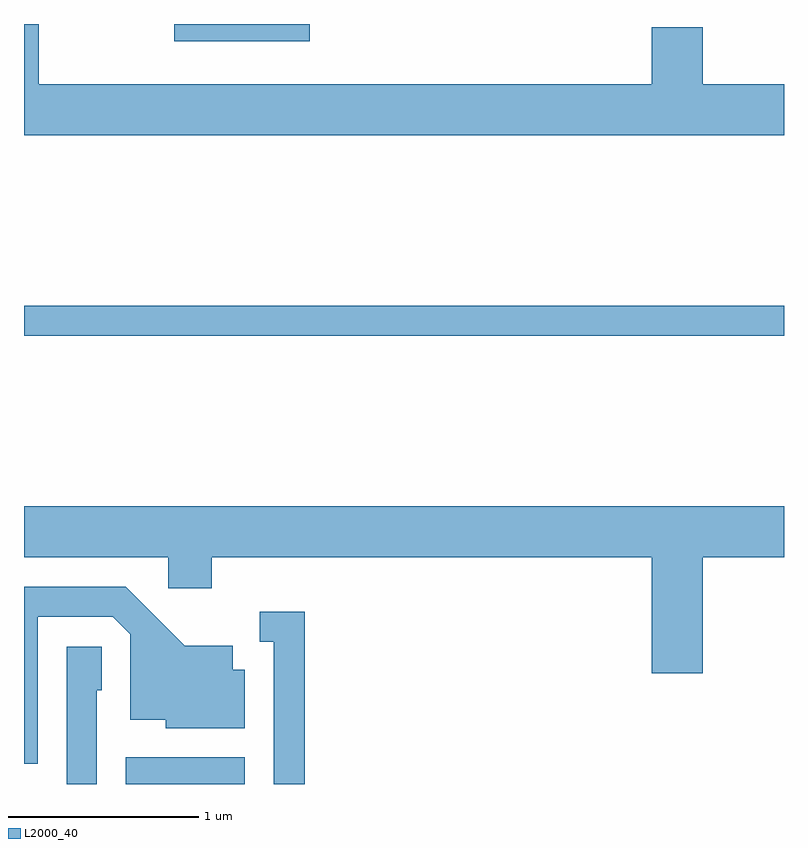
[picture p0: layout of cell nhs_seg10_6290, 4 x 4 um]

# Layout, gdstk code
import gdstk
lib = gdstk.Library(unit=1e-6, precision=1e-09)
def R(c, l, rs):  # rectangles x0, y0, x1, y1
    for r in rs: c.add(gdstk.rectangle(r[:2], r[2:], *l))
def P(c, l, *ps):  # polygons
    for p in ps: c.add(gdstk.Polygon(p, *l))
L2000_40 = (2000, 40)

nhs_seg10_6290 = lib.new_cell('nhs_seg10_6290')
R(nhs_seg10_6290, L2000_40, [(372.146,2090.522,372.774,2090.664), (371.611,2092.881,375.611,2093.039), (372.401,2094.431,373.114,2094.522)])
P(nhs_seg10_6290, L2000_40, [(375.611,2094.204),(375.184,2094.204),(375.184,2094.504),(374.916,2094.504),(374.916,2094.204),(371.689,2094.204),(371.689,2094.522),(371.611,2094.522),(371.611,2093.936),(375.611,2093.936)],
  [(375.184,2091.716),(375.611,2091.716),(375.611,2091.984),(371.611,2091.984),(371.611,2091.716),(372.371,2091.716),(372.371,2091.551),(372.599,2091.551),(372.599,2091.716),(374.916,2091.716),(374.916,2091.106),(375.184,2091.106)],
  [(371.684,2091.401),(372.079,2091.401),(372.171,2091.309),(372.171,2090.861),(372.356,2090.861),(372.356,2090.816),(372.774,2090.816),(372.774,2091.124),(372.709,2091.124),(372.709,2091.249),(372.457,2091.249),(372.147,2091.559),(371.611,2091.559),(371.611,2090.628),(371.684,2090.628)],
  [(373.089,2091.429),(372.853,2091.429),(372.853,2091.271),(372.926,2091.271),(372.926,2090.522),(373.089,2090.522)],
  [(371.994,2091.016),(372.019,2091.016),(372.019,2091.244),(371.836,2091.244),(371.836,2090.522),(371.994,2090.522)])

lib.write_gds('nhs_seg10_6290.gds')
